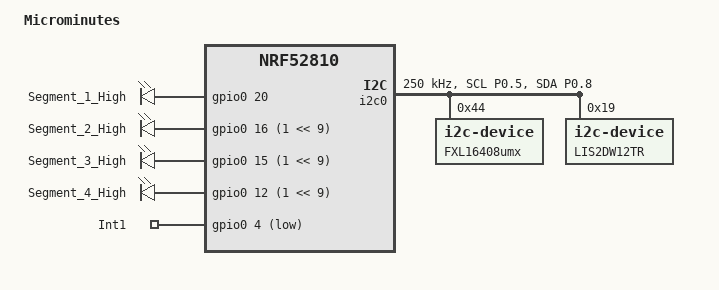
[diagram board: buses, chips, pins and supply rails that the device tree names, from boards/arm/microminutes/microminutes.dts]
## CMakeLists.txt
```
# SPDX-License-Identifier: Apache-2.0

cmake_minimum_required(VERSION 3.20.0)
find_package(Zephyr REQUIRED HINTS $ENV{ZEPHYR_BASE})
project(blinky_1)

target_sources(app PRIVATE src/main.c src/display.c src/imu.c src/bluetooth.c src/pwr.c src/hr.c src/storage.c src/rtc.c src/display_als.c)

# target_sources(app PRIVATE src/main.c src/display.c src/imu.c src/bluetooth.c)
```

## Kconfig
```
#
# Copyright (c) 2018 Nordic Semiconductor
#
# SPDX-License-Identifier: LicenseRef-Nordic-5-Clause
#

source "Kconfig.zephyr"

menu "Nordic UART BLE GATT service sample"

config BT_NUS_THREAD_STACK_SIZE
	int "Thread stack size"
	default 1024
	help
	  Stack size used in each of the two threads

config BT_NUS_UART_BUFFER_SIZE
	int "UART payload buffer element size"
	default 40
	help
	  Size of the payload buffer in each RX and TX FIFO element

config BT_NUS_SECURITY_ENABLED
	bool "Enable security"
	default y
	select BT_SMP
	help
	  "Enable BLE security for the UART service"

config BT_NUS_UART_RX_WAIT_TIME
	int "Timeout for UART RX complete event"
	default 50000
	help
	  Wait for RX complete event time in microseconds

config BT_NUS_UART_ASYNC_ADAPTER
	bool "Enable UART async adapter"
	select SERIAL_SUPPORT_ASYNC
	help
	  Enables asynchronous adapter for UART drives that supports only
	  IRQ interface.


config SEQUENCE_SAMPLES
	int "Number of samples to be made on the sequence for each channel."
	default 5

config SEQUENCE_RESOLUTION
	int "Set the resolution of the sequence readings."
	default 12

	
endmenu
```

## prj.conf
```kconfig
CONFIG_HEAP_MEM_POOL_SIZE=2048

CONFIG_BT=y
CONFIG_BT_PERIPHERAL=y
CONFIG_BT_DEVICE_NAME="MicroMinutes V2"
CONFIG_BT_DEVICE_APPEARANCE=833
CONFIG_BT_MAX_CONN=1
CONFIG_BT_MAX_PAIRED=1

# Enable the NUS service
CONFIG_BT_NUS=y

# Enable bonding
CONFIG_BT_SETTINGS=y
CONFIG_FLASH=y
CONFIG_FLASH_PAGE_LAYOUT=y
CONFIG_FLASH_MAP=y
CONFIG_NVS=y
CONFIG_SETTINGS=y

# Enable DK LED and Buttons library
# CONFIG_DK_LIBRARY=y

# Drivers and peripherals
CONFIG_I2C=y
CONFIG_WATCHDOG=n
CONFIG_SPI=n
CONFIG_GPIO=y

# Power management
CONFIG_POWEROFF=y

# Interrupts
CONFIG_DYNAMIC_INTERRUPTS=n
CONFIG_IRQ_OFFLOAD=n

# Memory protection
CONFIG_THREAD_STACK_INFO=y
CONFIG_THREAD_CUSTOM_DATA=n
CONFIG_FPU=n

# Boot
CONFIG_BOOT_BANNER=n
CONFIG_BOOT_DELAY=500

# Console
CONFIG_CONSOLE=n
CONFIG_UART_CONSOLE=n
CONFIG_STDOUT_CONSOLE=n
CONFIG_PRINTK=n
CONFIG_EARLY_CONSOLE=n

# Build
CONFIG_SIZE_OPTIMIZATIONS=n

# ARM
CONFIG_ARM_MPU=n

# In order to correctly tune the stack sizes for the threads the following
# Configurations can enabled to print the current use:
# CONFIG_THREAD_NAME=y
# CONFIG_THREAD_ANALYZER=y
# CONFIG_THREAD_ANALYZER_AUTO=y
# CONFIG_THREAD_ANALYZER_RUN_UNLOCKED=y
# CONFIG_THREAD_ANALYZER_USE_PRINTK=y
#CONFIG_CONSOLE=y
#CONFIG_UART_CONSOLE=y
#CONFIG_SERIAL=y
#CONFIG_PRINTK=y

# Example output of thread analyzer
#SDC RX              : unused 800 usage 224 / 1024 (21 %)
#BT ECC              : unused 216 usage 888 / 1104 (80 %)
#BT RX               : unused 1736 usage 464 / 2200 (21 %)
#BT TX               : unused 1008 usage 528 / 1536 (34 %)
#ble_write_thread_id : unused 688 usage 336 / 1024 (32 %)
#sysworkq            : unused 1912 usage 136 / 2048 (6 %)
#MPSL signal         : unused 928 usage 96 / 1024 (9 %)
#idle 00             : unused 224 usage 96 / 320 (30 %)
#main                : unused 568 usage 456 / 1024 (44 %)
CONFIG_BT_RX_STACK_SIZE=1024
CONFIG_BT_HCI_TX_STACK_SIZE_WITH_PROMPT=y
CONFIG_BT_HCI_TX_STACK_SIZE=640
CONFIG_SYSTEM_WORKQUEUE_STACK_SIZE=1536
CONFIG_MPSL_WORK_STACK_SIZE=256
CONFIG_MAIN_STACK_SIZE=864
CONFIG_IDLE_STACK_SIZE=128
CONFIG_ISR_STACK_SIZE=1024
CONFIG_BT_NUS_THREAD_STACK_SIZE=512

# Disable features not needed
CONFIG_TIMESLICING=n
CONFIG_MINIMAL_LIBC_MALLOC=n
CONFIG_LOG=n
CONFIG_ASSERT=n

# Disable Bluetooth features not needed
CONFIG_BT_DEBUG_NONE=y
CONFIG_BT_ASSERT=n
CONFIG_BT_DATA_LEN_UPDATE=n
CONFIG_BT_PHY_UPDATE=n
CONFIG_BT_GATT_CACHING=n
CONFIG_BT_GATT_SERVICE_CHANGED=n
CONFIG_BT_GAP_PERIPHERAL_PREF_PARAMS=n
CONFIG_BT_SETTINGS_CCC_LAZY_LOADING=y
CONFIG_BT_HCI_VS_EXT=n

# Disable Bluetooth controller features not needed
CONFIG_BT_CTLR_PRIVACY=n
CONFIG_BT_CTLR_PHY_2M=n

# Reduce Bluetooth buffers
CONFIG_BT_BUF_EVT_DISCARDABLE_COUNT=1
CONFIG_BT_BUF_EVT_DISCARDABLE_SIZE=43
CONFIG_BT_BUF_EVT_RX_COUNT=2

CONFIG_BT_CONN_TX_MAX=2
CONFIG_BT_L2CAP_TX_BUF_COUNT=2
CONFIG_BT_BUF_ACL_TX_COUNT=3
CONFIG_BT_BUF_ACL_TX_SIZE=27

# Enable timers
CONFIG_TIMER=y
CONFIG_CLOCK_CONTROL_NRF=y

# Enable ADC
CONFIG_ADC=y

CONFIG_RESET_ON_FATAL_ERROR=y
CONFIG_GPIO_AS_PINRESET=n
```

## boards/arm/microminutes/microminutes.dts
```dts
// Copyright (c) 2024 Nordic Semiconductor ASA
// SPDX-License-Identifier: Apache-2.0

/dts-v1/;
#include <nordic/nrf52810_qfaa.dtsi>

/ {
	model = "Microminutes";
	compatible = "jacob-lundstrom,microminutes";

	chosen {
		zephyr,sram = &sram0;
		zephyr,flash = &flash0;
		zephyr,code-partition = &slot0_partition;
	};

	aliases {
		led1 = &segment1high;
		led2 = &segment2high;
		led3 = &segment3high;
		led4 = &segment4high;
		int1 = &int1;
	};

	leds {
		compatible = "gpio-leds";

		segment1high: segment_1_high {
			gpios = <&gpio0 20 0>;
			label = "Segment_1_High";
		};

		segment2high: segment_2_high {
			gpios = <&gpio0 16 (1 << 9)>;
			label = "Segment_2_High";
		};

		segment3high: segment_3_high {
			gpios = <&gpio0 15 (1 << 9)>;
			label = "Segment_3_High";
		};

		segment4high: segment_4_high {
			gpios = <&gpio0 12 (1 << 9)>;
			label = "Segment_4_High";
		};

	};

	buttons {
		compatible = "gpio-keys";
		int1: int1 {
			gpios = <&gpio0 4 (GPIO_ACTIVE_LOW | GPIO_PULL_UP)>;
			label = "Int1";
		};
	};

	
};

&flash0 {
	partitions {
		compatible = "fixed-partitions";
		#address-cells = <1>;
		#size-cells = <1>;

		boot_partition: partition@0 {
			label = "mcuboot";
			reg = <0x0 0xc000>;
		};
		slot0_partition: partition@c000 {
			label = "image-0";
			reg = <0xc000 0xa000>;
		};
		slot1_partition: partition@16000 {
			label = "image-1";
			reg = <0x16000 0xa000>;
		};
		scratch_partition: partition@20000 {
			label = "image-scratch";
			reg = <0x20000 0xa000>;
		};
		storage_partition: partition@2a000 {
			label = "storage";
			reg = <0x2a000 0x6000>;
		};
	};
};


&gpio0 {
	status = "okay";
	gpiote-instance = <&gpiote>;
};

&gpiote {
	status = "okay";
};

&i2c0 {
	compatible = "nordic,nrf-twim";
	status = "okay";

	pinctrl-0 = <&i2c0_default>;
	pinctrl-names = "default";
	clock-frequency = <250000>;

	fxl6408umx: fxl6408umx@44{
		compatible="i2c-device";
		label="FXL16408umx";
		reg = <0x44>;
	};

	lis2dw12tr: lis2dw12tr@19{
		compatible="i2c-device";
		label="LIS2DW12TR";
		reg = <0x19>;
		// int-gpios = <&gpio0 4 (GPIO_PULL_UP | GPIO_ACTIVE_LOW)>;
	};
};



&pinctrl {
	i2c0_default: i2c0_default {
		group1 {
			psels = <NRF_PSEL(TWIM_SCL, 0, 5)>, <NRF_PSEL(TWIM_SDA, 0, 8)>;
		};
	};
};
```

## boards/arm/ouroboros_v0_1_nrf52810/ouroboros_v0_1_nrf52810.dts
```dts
// Copyright (c) 2024 Nordic Semiconductor ASA
// SPDX-License-Identifier: Apache-2.0

/dts-v1/;
#include <nordic/nrf52810_qfaa.dtsi>

/ {
	model = "Ouroboros V0_1 nRF52810";
	compatible = "jacob-lundstrom,ouroboros-v0-1-nrf52810";

	chosen {
		zephyr,sram = &sram0;
		zephyr,flash = &flash0;
		zephyr,code-partition = &slot0_partition;
	};

	aliases {
		led0 = &segment1high;
	};

	leds {
		compatible = "gpio-leds";

		segment1high: segment_1_high {
			gpios = <&gpio0 2 (1 << 9)>;
			label = "Segment_1_High";
		};

		segment2high: segment_2_high {
			gpios = <&gpio0 15 (1 << 9)>;
			label = "Segment_2_High";
		};

		segment3high: segment_3_high {
			gpios = <&gpio0 16 (1 << 9)>;
			label = "Segment_3_High";
		};

		segment4high: segment_4_high {
			gpios = <&gpio0 12 (1 << 9)>;
			label = "Segment_4_High";
		};

		
	};
};

&flash0 {
	partitions {
		compatible = "fixed-partitions";
		#address-cells = <1>;
		#size-cells = <1>;

		boot_partition: partition@0 {
			label = "mcuboot";
			reg = <0x0 0xc000>;
		};
		slot0_partition: partition@c000 {
			label = "image-0";
			reg = <0xc000 0xa000>;
		};
		slot1_partition: partition@16000 {
			label = "image-1";
			reg = <0x16000 0xa000>;
		};
		scratch_partition: partition@20000 {
			label = "image-scratch";
			reg = <0x20000 0xa000>;
		};
		storage_partition: partition@2a000 {
			label = "storage";
			reg = <0x2a000 0x6000>;
		};
	};
};





&gpio0 {
	status = "okay";
	gpiote-instance = <&gpiote>;
};

&gpiote {
	status = "okay";
};

&rtc0 {
	status = "okay";
	clock-frequency = <32768>;
};

&power {
	status = "disabled";
};

&adc {
	status = "okay";
};
```

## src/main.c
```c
/*
 * Copyright (c) 2016 Intel Corporation
 *
 * SPDX-License-Identifier: Apache-2.0
 */

// THIS PROGRAM REQUIRES nRF Connect SDK v2.6.1
// I don't think that the toolchain version matters.

#include "main.h"

const k_tid_t thread_main_id;
const k_tid_t display_thread_id;
const k_tid_t battery_monitor_thread_id;

K_THREAD_DEFINE(thread_main_id, MAIN_STACKSIZE, THREAD_main, NULL, NULL, NULL,
		PRIORITY, 0, 0);

K_THREAD_DEFINE(ble_thread_id, 2 * BLE_STACKSIZE, BLE_init, NULL, NULL, NULL,
		PRIORITY, 0, 0);

K_THREAD_DEFINE(battery_monitor_thread_id, 512, THREAD_battery_monitor, NULL, NULL, NULL,
		PRIORITY, 0, 0);

K_THREAD_DEFINE(display_thread_id, 512, THREAD_display, NULL, NULL, NULL,
	PRIORITY, 0, 0);

	
int THREAD_battery_monitor (void) {
	while(1) {
		k_msleep(500);
		if (display_thread_id->base.thread_state & _THREAD_SUSPENDED) {
			// k_msleep(9500); // This isn't working right for some reason. The increased duration is always active.
		}

		battery_mv = read_battery_voltage(); // With battery tracking mode, the voltage on SYS is about 0.225 V higher than the battery.
		if (PWR_get_is_on_charger()) battery_mv -= 225;

		battery_p = get_battery_percentage(battery_mv);
		continue_check_common_interrupt(); // This makes sure that we check that no interrupts occurred while measuring the battery
	}
}

int THREAD_display (void) {
	while(true) {
		if ((battery_mv < BATTERY_MIN_VOLTAGE_MV)){
				// Make sure that we do nothing if the battery is too low.
				k_thread_suspend(display_thread_id);
		} else {
			if (show_time) {
				uint32_t t = RTC_get_time();
				Display_display_time_seconds(t, military_time, t % 2 );
			} else if (show_percent) {
				Display_display_percent(battery_p);
			} else if (show_voltage) {
				Display_display_battery_voltage_mv(battery_mv);
			} else if (show_message) {
				Display_display_word(DISPLAY_MESSAGE, sizeof(DISPLAY_MESSAGE), show_message_green, show_message_red);
			} else {
				for (int i = 0; i<sizeof(DISPLAY_MESSAGE); i++) DISPLAY_MESSAGE[i] = '?';
				Display_ALS_disable();
				Display_sleep();
				k_thread_suspend(display_thread_id);
				// the display will always start at this line on every resume.
				Display_ALS_enable();
			}
		}
	}
}

int THREAD_display_DEV (void) {
	while (1)
		// Display_display_word(DISPLAY_MESSAGE, sizeof(DISPLAY_MESSAGE),true, true);
		Display_display_integer(RDG_DISPLAY_DEV, false, false);
}

int THREAD_main_DEV(void) {

	SYSTEM_init();

	while(1) {
		k_msleep(100);
	}

	int64_t red_avg = 0;
	int64_t green_avg = 0;

	while(1) {
		int N = 200;
		uint16_t red_rdg[N];
		uint16_t ir_rdg[N];
		uint16_t green_rdg[N];
		// for (int i = 0; i < N; i++) {
		// 	red_rdg[i] = HR_collect_red_sample();
		// }
		for (int i = 0; i < N; i++) {
			green_rdg[i] = HR_collect_green_sample();
		}
		// for (int i = 0; i < N; i++) {
		// 	red_rdg[i] = HR_collect_red_sample();
		// 	ir_rdg[i] = HR_collect_IR_sample();
		// }
		k_msleep(1000);
	}
}

int THREAD_main(void) {
	// TODO
	// - Check all modes for full functionality
	// - Implement OTA updates
	// - Add Step counting

	SYSTEM_init();		

	// This is required for the display to begin showing info immediately after startup
	k_msleep(1000); // wait for the other threads to finish initializing before starting

	is_charging = PWR_get_is_on_charger();
	set_display_mode_while_charging(DISPLAY_VOLTAGE_WHILE_CHARGING);
	set_display_auto_brightness(true);
	need_to_check_interrupt_source = true;

	// Do the same thing that the battery monitor thread would do.
	battery_mv = read_battery_voltage();
	
	k_thread_resume(display_thread_id); // Properly start the display thread once the ADC recorded the "battery" voltage
	// This is required to ensure that the ALS will start up on the first display event.

	while(1) {
		if (need_to_check_interrupt_source) {
			is_charging 			= PWR_get_is_on_charger();
			bool rtc_alarm_flag 	= RTC_check_alarm_flag();
			bool rtc_timer_flag 	= RTC_check_timer_flag();
			bool disp_als_int_flag 	= Display_ALS_check_interrupts();
			need_to_check_interrupt_source 	= false; // At this point we should know which source the interrupt came from

			if (disp_als_int_flag) {
				static double b;
				if (display_auto_brightness) {
					b = (double) Display_ALS_get_brightness() / (1000.0);
					if (b > 0) Display_set_duty_cycle(b);
				}
				Display_ALS_clear_interrupts();
				disp_als_int_flag = false;
			}
			Display_ALS_clear_interrupts(); // There's a glitch sometimes where the ALS gets stuck low... This fixes it?

			if (rtc_alarm_flag) {
				continue_showing_time();
			}

			if (rtc_timer_flag) {
				continue_showing_time();
			}

			if (is_charging) display_while_charging();
			
		} 
		
		if (need_to_check_IMU_interrupt) {
			uint8_t int_src = read_from_IMU(0x24);
			if (int_src & DOUBLE_TAP_ALL_MASK) { // If the wakeup source was double tap, show time.
				continue_showing_time();
			}
			need_to_check_IMU_interrupt = false;			
		} 
		
		k_thread_suspend(thread_main_id);
	}

	return 0;
}

void stop_display(void) {
	need_to_check_interrupt_source = false;
	show_time = false;
	show_percent = false;
	show_voltage = false;
	show_message = false;

	display_timeout_isr(NULL);
}

void IMU_interrupt_isr(const struct device *dev, struct gpio_callback *cb, uint32_t pins) {
	need_to_check_IMU_interrupt = true;
	resume_main_thread();
}

void common_interrupt_isr(const struct device *dev, struct gpio_callback *cb, uint32_t pins) {
	continue_check_common_interrupt();
}

void display_timeout_isr(struct k_timer *dummy) {
	if (!(always_on || (charging_display_mode && is_charging))) {
		show_time = false;
		show_percent = false;
		show_voltage = false;
		show_message = false;
	}
	k_timer_stop(&display_timeout);
}

void display_while_charging(void) {
	if (is_charging) {
		if (charging_display_mode == DISPLAY_NOTHING_WHILE_CHARGING) stop_display();
		if (charging_display_mode == DISPLAY_PERCENT_WHILE_CHARGING) continue_showing_battery_percent();
		if (charging_display_mode == DISPLAY_VOLTAGE_WHILE_CHARGING) continue_showing_battery_voltage();
		if (charging_display_mode == DISPLAY_TIME_WHILE_CHARGING) continue_showing_time();
		if (charging_display_mode == DISPLAY_TIME_AND_PERCENT_WHILE_CHARGING) return; // unimplemented at the moment
	}
}

void SYSTEM_init(void) {

	need_to_check_interrupt_source = true; // On startup, see if the device is on the charger

	// Assume that it is not charging
	show_time = false;
	show_percent = false;
	show_voltage = false;

	// MicroMinutes inits
	Display_init();
	Motor_init();

	// MicroFitness inits
	// HR_init();

	// Always initialized
	PWR_init();
	ADC_init();
	IMU_init();

	// RTC reset should never be needed. This will reset the clock and lose the current time.
	// Since we want to retain the current time through a UVLO, Don't reset on start up.
	// RTC_reset();
}

void resume_display(void) {
	k_timer_stop(&display_timeout);
	k_timer_init(&display_timeout, display_timeout_isr, NULL);
	k_timer_start(&display_timeout, K_SECONDS(5), K_SECONDS(5));
	k_thread_resume(display_thread_id);
}

void resume_main_thread(void) {
	k_thread_resume(thread_main_id);
}

void continue_check_common_interrupt(void) {
	need_to_check_interrupt_source = true;
	resume_main_thread();
}

void continue_showing_time(void){
	show_time = true;
	show_percent = false;
	show_voltage = false;
	show_message = false;

	resume_display();
}

void continue_showing_battery_percent(void){
	show_time = false;
	show_percent = true;
	show_voltage = false;
	show_message = false;

	resume_display();
}

void continue_showing_battery_voltage(void){
	show_time = false;
	show_percent = false;
	show_voltage = true;
	show_message = false;

	resume_display();
}

void continue_showing_message(char *msg, uint8_t length, bool green_status, bool red_status){
	show_time = false;
	show_percent = false;
	show_voltage = false;

	show_message = true;
	show_message_green = green_status;
	show_message_red = red_status;
	for (int i = 0; i < sizeof(DISPLAY_MESSAGE); i++) DISPLAY_MESSAGE[i] = '?';
	for (int i = 0; i < sizeof(DISPLAY_MESSAGE) & i < length; i++) DISPLAY_MESSAGE[i] = msg[i];
	
	resume_display();
}

void set_time(uint32_t time) {
	uint8_t h = time / 3600; // Number of hours
	uint8_t m = (time - 3600 * h) / 60; // Number of minutes
	uint8_t s = (time - 3600 * h - 60 * m); 
	RTC_set_time(h, m, s);

	continue_showing_time();
}

void set_military_time(bool status) {
	// true = enabled, false = disabled
	military_time = status;

	continue_showing_time();
}

void set_always_on(bool state) {
	// This function should be used mostly for development only.
	always_on = state;
	if (always_on) {
		simulate_IMU_interrupt();
	} else {
		stop_display();
	}
}

void set_display_mode_while_charging(uint8_t state) {
	charging_display_mode = state;
	if (is_charging) {
		display_while_charging();
	}
}

void set_display_auto_brightness(bool state) {
	display_auto_brightness = state;
}

void simulate_IMU_interrupt(void) {
	continue_showing_time();
}

// MOTOR FUNCTIONS

void Motor_init(void) {
	if (!gpio_is_ready_dt(&motor)) {
		return 0;
	}

	int ret = gpio_pin_configure_dt(&motor, GPIO_OUTPUT_ACTIVE);
	if (ret < 0) {
		return 0;
	}

	Motor_off();
}

void Motor_on(void) {
	gpio_pin_set_dt(&motor, 1);
	// gpio_pin_configure_dt(&motor, GPIO_OUTPUT_ACTIVE);
}

void Motor_off(void) {
	gpio_pin_set_dt(&motor, 0);
	// gpio_pin_configure_dt(&motor, GPIO_INPUT);
}

void Motor_vibrate(uint32_t duration_us) {
	Motor_on();
	k_timer_init(&motor_timeout, Motor_timeout_isr, NULL );
	k_timer_start(&motor_timeout, K_USEC(duration_us), K_USEC(duration_us));
}

void Motor_timeout_isr(struct k_timer *dummy) {
	Motor_off();
	k_timer_stop(&motor_timeout);
}
```

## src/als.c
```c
#include "als.h"

/**
 * \brief 			Sends a byte of information to the COMMAND register in the ALS.
 * \param 			COMMAND: Byte to be written to COMMAND register.
 */
uint8_t commandDisplayALS(uint8_t COMMAND) {
    while (!device_is_ready(display_als_i2c.bus));
	uint8_t config[1] = {COMMAND | 0x80}; // This just ensures that the command register is actually addressed.
	int ret = i2c_write_dt(&display_als_i2c, config, sizeof(config));
	if(ret != 0){
		return 1;
	}

	return 0;
}

/**
 * \brief 			Initializes the ALS with some acceptable settings to get the current brightness.
 */
void DISPLAY_ALS_init() {
    writeToDisplayALS(DISPLAY_ALS_REG_CONTROL, 1);
    writeToDisplayALS(DISPLAY_ALS_REG_TIMING, 0xFF);
    writeToDisplayALS(DISPLAY_ALS_REG_INTERRUPT, 0x12);
    writeToDisplayALS(DISPLAY_ALS_REG_THH_HIGH, 0x00);
    writeToDisplayALS(DISPLAY_ALS_REG_THH_LOW, 0x00);
    writeToDisplayALS(DISPLAY_ALS_REG_THL_HIGH, 0x00);
    writeToDisplayALS(DISPLAY_ALS_REG_THL_LOW, 0x00);
    // writeToDisplayALS(DISPLAY_ALS_REG_ANALOG, 2);
    DISPLAY_ALS_set_gain(8);
    writeToDisplayALS(DISPLAY_ALS_REG_CONTROL, 3);
    // writeToDisplayALS(DISPLAY_ALS_REG_TIMING, 0x);
    DISPLAY_ALS_set_exposure_ms(10);
    return;

    // For debugging:
    // while(1) { k_msleep(500);
    //     readFromDisplayALS(DISPLAY_ALS_REG_CONTROL   );
    //     readFromDisplayALS(DISPLAY_ALS_REG_TIMING    );
    //     readFromDisplayALS(DISPLAY_ALS_REG_INTERRUPT );
    //     readFromDisplayALS(DISPLAY_ALS_REG_THL_LOW   );
    //     readFromDisplayALS(DISPLAY_ALS_REG_THL_HIGH  );
    //     readFromDisplayALS(DISPLAY_ALS_REG_THH_LOW   );
    //     readFromDisplayALS(DISPLAY_ALS_REG_THH_HIGH  );
    //     readFromDisplayALS(DISPLAY_ALS_REG_ANALOG    );
    //     readFromDisplayALS(DISPLAY_ALS_REG_ID        );
    //     readFromDisplayALS(DISPLAY_ALS_REG_DATA0_LOW );
    //     readFromDisplayALS(DISPLAY_ALS_REG_DATA0_HIGH);
    //     readFromDisplayALS(DISPLAY_ALS_REG_DATA1_LOW );
    //     readFromDisplayALS(DISPLAY_ALS_REG_DATA1_HIGH);
    //     readFromDisplayALS(DISPLAY_ALS_REG_TIMER_LOW );
    //     readFromDisplayALS(DISPLAY_ALS_REG_TIMER_HIGH);
    //     readFromDisplayALS(DISPLAY_ALS_REG_ID2       );
    // }
}

/**
 * \brief 			Gets the intensity of illumination onto the sensor.
 * \return          Illumination of the photodiode array in lux. -1 corresponds to an invalid reading.
 */
int32_t DISPLAY_ALS_get_brightness(void) {
    // commandDisplayALS(0b11100001);
    uint8_t CONTROL = readFromDisplayALS(0x00);
    if (((CONTROL & 0x20) && (CONTROL & 0x10))  ) {
        uint16_t D0L = readFromDisplayALS(DISPLAY_ALS_REG_DATA0_LOW);
        uint16_t D0H = readFromDisplayALS(DISPLAY_ALS_REG_DATA0_HIGH);
        uint16_t D1L = readFromDisplayALS(DISPLAY_ALS_REG_DATA1_LOW);
        uint16_t D1H = readFromDisplayALS(DISPLAY_ALS_REG_DATA1_HIGH);
    
        
        // genericWriteToDisplayALS(0b11100001); // Should clear interrupts??
        return (D0H << 8) + D0L;
    }

    return -1;
}

/**
 * \brief 			Checks the identity of the ALS sensor.
 * \return          True if the sensor's ID is correct, False otherwise.
 */
uint8_t DISPLAY_ALS_check_ID(void) {
    uint8_t id1 = readFromDisplayALS(DISPLAY_ALS_REG_ID);
    uint8_t id2 = readFromDisplayALS(DISPLAY_ALS_REG_ID2);
    return ((id1 & 0xF0) == 0x90) && ((id2 & 0x80));
}

/**
 * \brief 			Function to handle writing to the ALS over the I2C bus.
 * \return          0 if the I2C write was successful, 1 if there was an error in communication.
 */
uint8_t writeToDisplayALS(uint8_t reg, uint8_t val) {
	while (!device_is_ready(display_als_i2c.bus));
	uint8_t config[2] = {reg | 0x80, val};
	int ret = i2c_write_dt(&display_als_i2c, config, sizeof(config));
	if(ret != 0){
		return 1;
	}

	return 0;
}


/**
 * \brief 			Function to handle Reading from the Display ALS over the I2C bus.
 * \param           reg: Register address in the Display ALS to read from.
 * \return          Value stored at the requested register address.
 */
uint8_t readFromDisplayALS(uint8_t reg) {

	while (!device_is_ready(display_als_i2c.bus));
	uint8_t config[1] = {reg | 0x80};
	int ret = i2c_write_dt(&display_als_i2c, config, sizeof(config));
	if(ret != 0){
		return 1;
	}

	uint8_t data;
	ret = i2c_read_dt(&display_als_i2c, &data, sizeof(data));
	if(ret != 0){
		return 1;
	}

	return data;
}

/**
 * \brief 			Sets the exposure time of the display in ms to as close as possible to the requested value.
 * \param           exposure_ms: The desired exposure time, in milliseconds. Values range from 2.7ms to 688.5 ms.
 * \return          0 if the I2C write was successful, 1 if there was an error in communication.
 */
uint8_t DISPLAY_ALS_set_exposure_ms(float exposure_ms) {
    uint8_t atime = 0;
    if ( exposure_ms >= 688.5 ) 
    {
        atime = 1;
    }
    else if ( exposure_ms <= 2.7 )
    {
        atime = 0xFF;
    }
    else
    {
        atime = 0xFF - ( uint8_t ) ( exposure_ms / 2.7 );
    }
    return writeToDisplayALS(DISPLAY_ALS_REG_TIMING, atime );
}

/**
 * \brief 			Sets the gain of the Display ALS.
 * \param           gain: The desired sensor gaine. Valid settings are 1, 8, 16, or 111 (high-gain mode).
 * \return          0 if the I2C write was successful, 1 if there was an error in communication or an invalid gain was requested.
 */
uint8_t DISPLAY_ALS_set_gain(uint8_t gain) {
    uint8_t data = 0;
    switch ( gain )
    {
        case 1:
        {
            data = 0;
            break;
        }
        case 8:
        {
            data = 0b1;
            break;
        }
        case 16:
        {
            data = 0b10;
            break;
        }
        case 111:
        {
            data = 0b11;
            break;
        }
        default:
        {
            return 1;
        }
    }
    return writeToDisplayALS(DISPLAY_ALS_REG_ANALOG, data);
}
```

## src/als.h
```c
#include <zephyr/kernel.h>
#include <zephyr/drivers/gpio.h>
#include <zephyr/drivers/i2c.h>

#include "main.h"
#include "imu.h"


#define I2C0_DISPLAY_ALS_NODE DT_NODELABEL(tsl2584tsv)
static const struct i2c_dt_spec display_als_i2c = I2C_DT_SPEC_GET(I2C0_DISPLAY_ALS_NODE);

#define DISPLAY_ALS_REG_CONTROL             0x00
#define DISPLAY_ALS_REG_TIMING              0x01
#define DISPLAY_ALS_REG_INTERRUPT           0x02
#define DISPLAY_ALS_REG_THL_LOW             0x03
#define DISPLAY_ALS_REG_THL_HIGH            0x04
#define DISPLAY_ALS_REG_THH_LOW             0x05
#define DISPLAY_ALS_REG_THH_HIGH            0x06
#define DISPLAY_ALS_REG_ANALOG              0x07
#define DISPLAY_ALS_REG_ID                  0x12
#define DISPLAY_ALS_REG_DATA0_LOW           0x14
#define DISPLAY_ALS_REG_DATA0_HIGH          0x15
#define DISPLAY_ALS_REG_DATA1_LOW           0x16
#define DISPLAY_ALS_REG_DATA1_HIGH          0x17
#define DISPLAY_ALS_REG_TIMER_LOW           0x18
#define DISPLAY_ALS_REG_TIMER_HIGH          0x19
#define DISPLAY_ALS_REG_ID2                 0x1E


void DISPLAY_ALS_init(void);
uint8_t writeToDisplayALS(uint8_t reg, uint8_t val);
uint8_t readFromDisplayALS(uint8_t reg);
uint8_t commandDisplayALS(uint8_t COMMAND);
void enable_Display_ALS_interrupt(void);
uint16_t DISPLAY_ALS_get_brightness(void);
uint8_t DISPLAY_ALS_set_gain(uint8_t gain);
uint8_t DISPLAY_ALS_check_ID(void);
uint8_t DISPLAY_ALS_set_exposure_ms(float exposure_ms);
uint8_t DISPLAY_ALS_set_gain(uint8_t gain);
```

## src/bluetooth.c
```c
/*
 * Copyright (c) 2018 Nordic Semiconductor ASA
 *
 * SPDX-License-Identifier: LicenseRef-Nordic-5-Clause
 */

/** @file
 *  @brief Nordic UART Bridge Service (NUS) sample
 */
// #include "uart_async_adapter.h"

#include <zephyr/types.h>
#include <zephyr/kernel.h>
// #include <zephyr/drivers/uart.h>
#include <zephyr/usb/usb_device.h>

#include <zephyr/device.h>
#include <zephyr/devicetree.h>
#include <soc.h>

#include <zephyr/bluetooth/bluetooth.h>
#include <zephyr/bluetooth/uuid.h>
#include <zephyr/bluetooth/gatt.h>
#include <zephyr/bluetooth/hci.h>

#include <bluetooth/services/nus.h>

#include <zephyr/settings/settings.h>

#include "main.h"
#include "bluetooth.h"

#define BT_LE_ADV_CONN_CUSTOM  BT_LE_ADV_PARAM(BT_LE_ADV_OPT_CONNECTABLE, 0x0b40, 0x0b40, NULL)
#define PRIORITY 7

#define DEVICE_NAME CONFIG_BT_DEVICE_NAME
#define DEVICE_NAME_LEN	(sizeof(DEVICE_NAME) - 1)

#define UART_BUF_SIZE CONFIG_BT_NUS_UART_BUFFER_SIZE
#define UART_WAIT_FOR_BUF_DELAY K_MSEC(50)
#define UART_WAIT_FOR_RX CONFIG_BT_NUS_UART_RX_WAIT_TIME

static K_SEM_DEFINE(ble_init_ok, 0, 1);

static struct bt_conn *current_conn;
static struct bt_conn *auth_conn;


bool BLE_RECIEVED_FLAG;

struct uart_data_t {
	void *fifo_reserved;
	uint8_t data[UART_BUF_SIZE];
	uint16_t len;
};

// static struct uart_data_t *tx;
static K_FIFO_DEFINE(tx);
static bool DATA_REQUESTED = false;

static const struct bt_data ad[] = {
	BT_DATA_BYTES(BT_DATA_FLAGS, (BT_LE_AD_GENERAL | BT_LE_AD_NO_BREDR)),
	BT_DATA(BT_DATA_NAME_COMPLETE, DEVICE_NAME, DEVICE_NAME_LEN),
};

static const struct bt_data sd[] = {
	BT_DATA_BYTES(BT_DATA_UUID128_ALL, BT_UUID_NUS_VAL),
};

#if CONFIG_BT_NUS_UART_ASYNC_ADAPTER
UART_ASYNC_ADAPTER_INST_DEFINE(async_adapter);
#else
static const struct device *const async_adapter;
#endif

static void connected(struct bt_conn *conn, uint8_t err);
static void disconnected(struct bt_conn *conn, uint8_t reason);

#ifdef CONFIG_BT_NUS_SECURITY_ENABLED
static void security_changed(struct bt_conn *conn, bt_security_t level,
			     enum bt_security_err err);
#endif

#if defined(CONFIG_BT_NUS_SECURITY_ENABLED)
static void auth_passkey_display(struct bt_conn *conn, unsigned int passkey);
static void auth_passkey_confirm(struct bt_conn *conn, unsigned int passkey);
static void auth_cancel(struct bt_conn *conn);
static void pairing_complete(struct bt_conn *conn, bool bonded);
static void pairing_failed(struct bt_conn *conn, enum bt_security_err reason);

static struct bt_conn_auth_cb conn_auth_callbacks = {
	.passkey_display = auth_passkey_display,
	.passkey_confirm = auth_passkey_confirm,
	.cancel = auth_cancel,
};

static struct bt_conn_auth_info_cb conn_auth_info_callbacks = {
	.pairing_complete = pairing_complete,
	.pairing_failed = pairing_failed
};
#else
static struct bt_conn_auth_cb conn_auth_callbacks;
static struct bt_conn_auth_info_cb conn_auth_info_callbacks;
#endif

static void bt_receive_cb(struct bt_conn *conn, const uint8_t *const data, uint16_t len);

static struct bt_nus_cb nus_cb = {
	.received = bt_receive_cb,
};

#ifdef CONFIG_BT_NUS_SECURITY_ENABLED
static void num_comp_reply(bool accept);
#endif

#if CONFIG_BT_NUS_UART_ASYNC_ADAPTER
UART_ASYNC_ADAPTER_INST_DEFINE(async_adapter);
#else
static const struct device *const async_adapter;
#endif

BT_CONN_CB_DEFINE(conn_callbacks) = {
	.connected    = connected,
	.disconnected = disconnected,
#ifdef CONFIG_BT_NUS_SECURITY_ENABLED
	.security_changed = security_changed,
#endif
};

static void connected(struct bt_conn *conn, uint8_t err)
{
	char addr[BT_ADDR_LE_STR_LEN];

	if (err) {
		return;
	}

	bt_addr_le_to_str(bt_conn_get_dst(conn), addr, sizeof(addr));

	current_conn = bt_conn_ref(conn);
}

static void disconnected(struct bt_conn *conn, uint8_t reason)
{
	char addr[BT_ADDR_LE_STR_LEN];

	bt_addr_le_to_str(bt_conn_get_dst(conn), addr, sizeof(addr));

	if (auth_conn) {
		bt_conn_unref(auth_conn);
		auth_conn = NULL;
	}

	if (current_conn) {
		bt_conn_unref(current_conn);
		current_conn = NULL;
	}
}

#ifdef CONFIG_BT_NUS_SECURITY_ENABLED
static void security_changed(struct bt_conn *conn, bt_security_t level,
			     enum bt_security_err err)
{
	char addr[BT_ADDR_LE_STR_LEN];

	bt_addr_le_to_str(bt_conn_get_dst(conn), addr, sizeof(addr));
}
#endif

#if defined(CONFIG_BT_NUS_SECURITY_ENABLED)
static void auth_passkey_display(struct bt_conn *conn, unsigned int passkey)
{
	char addr[BT_ADDR_LE_STR_LEN];

	bt_addr_le_to_str(bt_conn_get_dst(conn), addr, sizeof(addr));
}

static void auth_passkey_confirm(struct bt_conn *conn, unsigned int passkey)
{
	char addr[BT_ADDR_LE_STR_LEN];

	auth_conn = bt_conn_ref(conn);

	bt_addr_le_to_str(bt_conn_get_dst(conn), addr, sizeof(addr));
}


static void auth_cancel(struct bt_conn *conn)
{
	char addr[BT_ADDR_LE_STR_LEN];

	bt_addr_le_to_str(bt_conn_get_dst(conn), addr, sizeof(addr));
}


static void pairing_complete(struct bt_conn *conn, bool bonded)
{
	char addr[BT_ADDR_LE_STR_LEN];

	bt_addr_le_to_str(bt_conn_get_dst(conn), addr, sizeof(addr));
}


static void pairing_failed(struct bt_conn *conn, enum bt_security_err reason)
{
	char addr[BT_ADDR_LE_STR_LEN];

	bt_addr_le_to_str(bt_conn_get_dst(conn), addr, sizeof(addr));
}


#else
static struct bt_conn_auth_cb conn_auth_callbacks;
static struct bt_conn_auth_info_cb conn_auth_info_callbacks;
#endif

static void bt_receive_cb(struct bt_conn *conn, const uint8_t *const data,
			  uint16_t len)
{
	// These lines are important for some reason, I don't know why.
	// Removing them makes the device stop working
	char addr[BT_ADDR_LE_STR_LEN] = {0}; 
	bt_addr_le_to_str(bt_conn_get_dst(conn), addr, ARRAY_SIZE(addr));
	
	// if (BLE_RECIEVED_FLAG) return; // Make sure we're not in the middle of displaying something.
	// If we are, ignore this packet and wait.

	struct uart_data_t *ble_tx_buf = k_malloc(sizeof(*ble_tx_buf));

	for (uint16_t pos = 0; pos != len;) {
		// static struct uart_data_t *ble_tx_buf;

		if (!ble_tx_buf) {
			return;
		}

		// Keep the last byte of TX buffer for potential LF char.
		size_t tx_data_size = sizeof(ble_tx_buf->data) - 1;

		if ((len - pos) > tx_data_size) {
			ble_tx_buf->len = tx_data_size;
		} else {
			ble_tx_buf->len = (len - pos);
		}

		memcpy(ble_tx_buf->data, &data[pos], ble_tx_buf->len);

		pos += ble_tx_buf->len;

		// Append the LF character when the CR character triggered
		// transmission from the peer.
		 
		if ((pos == len) && (data[len - 1] == '\r')) {
			ble_tx_buf->data[ble_tx_buf->len] = '\n';
			ble_tx_buf->len++;
		}

		k_fifo_put(&tx, ble_tx_buf);
	}	
	k_free(ble_tx_buf);
	
	// k_fifo_put(&tx, buf);
	DATA_REQUESTED = true;
}


#ifdef CONFIG_BT_NUS_SECURITY_ENABLED
static void num_comp_reply(bool accept)
{
	if (accept) {
		bt_conn_auth_passkey_confirm(auth_conn);
	} else {
		bt_conn_auth_cancel(auth_conn);
	}

	bt_conn_unref(auth_conn);
	auth_conn = NULL;
}
#endif /* CONFIG_BT_NUS_SECURITY_ENABLED */

int BLE_init(void)
{
	int err = 0;
	BLE_RECIEVED_FLAG = false;

	if (IS_ENABLED(CONFIG_BT_NUS_SECURITY_ENABLED)) {
		err = bt_conn_auth_cb_register(&conn_auth_callbacks);
		if (err) {
			return 0;
		}

		err = bt_conn_auth_info_cb_register(&conn_auth_info_callbacks);
		if (err) {
			return 0;
		}
	}

	err = bt_enable(NULL);
	if (err) {
		return 0;
	}

	k_sem_give(&ble_init_ok);

	if (IS_ENABLED(CONFIG_SETTINGS)) {
		settings_load();
	}

	err = bt_nus_init(&nus_cb);
	if (err) {
		return 0;
	}

	// Advertises every 1.8 S
	err = bt_le_adv_start(BT_LE_ADV_CONN_CUSTOM, ad, ARRAY_SIZE(ad), sd,
			      ARRAY_SIZE(sd));
	
	
	// Advertises every 0.1 s
	// err = bt_le_adv_start(BT_LE_ADV_CONN, ad, ARRAY_SIZE(ad), sd,
	// 		      ARRAY_SIZE(sd));
	if (err) {
		return 0;
	}

	ble_write_thread();
}

void process_input(struct uart_data_t *input) {

	if ((input->data[0] == 'S') && (input->data[1] == 'T') && (input->data[2] == '=') 
			&& (input->data[5] == ':') && (input->data[8] == ':')){
		// ST=HH:MM:SS
		// Request to set the time (24 HR TIME)

		// Check input conditions
		int hr1 = (input->data[3]);
		int hr2 = (input->data[4]);
		int min1 = (input->data[6]);
		int min2 = (input->data[7]);
		int sec1 = (input->data[9]);
		int sec2 = (input->data[10]);

		hr1 -= 48;
		hr2 -= 48;
		int hr = hr1 * 10 + hr2;
		if (hr > 24) return;

		min1 -= 48;
		min2 -= 48;
		int min = min1 * 10 + min2;
		if (min > 60) return;

		sec1 -= 48;
		sec2 -= 48;
		int sec = sec1 * 10 + sec2;
		if (sec > 60) return;

		// Set time
		set_time((hr) * (60 * 60) + (min) * (60) + sec);
		BLE_RECIEVED_FLAG = true;
		return;
	} else if ((input->data[0] == 'S') && (input->data[1] == 'T') && (input->data[2] == '=') 
			&& (input->data[5] == ':')){
		// ST=HH:MM
		// Request to set the time (24 HR TIME)

		// Check input conditions
		int hr1 = (input->data[3]);
		int hr2 = (input->data[4]);
		int min1 = (input->data[6]);
		int min2 = (input->data[7]);
		int sec1 = (input->data[9]);
		int sec2 = (input->data[10]);

		hr1 -= 48;
		hr2 -= 48;
		int hr = hr1 * 10 + hr2;
		if (hr > 24) return;

		min1 -= 48;
		min2 -= 48;
		int min = min1 * 10 + min2;
		if (min > 60) return;

		// Set time
		set_time((hr) * (60 * 60) + (min) * (60));
		BLE_RECIEVED_FLAG = true;
		return;
	} else if ((input->data[0] == 'M') && (input->data[1] == 'T') && (input->data[2] == '=')) {
		// (MT=B)
		// Request to set Military time (24 HR TIME) Setting
		if (input->data[3] == '0'){
			// Military time = false
			set_military_time(false);
		} else {
			// Military time = true;
			set_military_time(true);
		}
		BLE_RECIEVED_FLAG = true;
		return;
	} else if ((input->data[0] == 'G') && (input->data[1] == 'B') && (input->data[2] == 'P')) {
		// Request to Get Battery Percentage (GBP)
		// For now, display percentage on the ring
		continue_showing_battery_percent();
		BLE_RECIEVED_FLAG = true;
		return;
	} else if ((input->data[0] == 'G') && (input->data[1] == 'B') && (input->data[2] == 'V')) {
		// Request to Get Battery Voltage (GBV)
		// For now, display voltage on the ring, using colon as period
		continue_showing_battery_voltage();
		BLE_RECIEVED_FLAG = true;
		return;
	} else if ((input->data[0] == 'S') && (input->data[1] == 'I')) {
		// Simulates IMU interrupt, to make developing less painful.
		simulate_IMU_interrupt();
		BLE_RECIEVED_FLAG = true;
		return;
	} else if ((input->data[0] == 'A') && (input->data[1] == 'O') && (input->data[2] == '=') && ((input->data[3] == '0') || (input->data[3] == '1'))) {
		// Always On [AO=%1 OR 0%]
		bool req = false;
		if (input->data[3] == '1') req = true;
		set_always_on(req);
		BLE_RECIEVED_FLAG = true;
	} else if ((input->data[0] == 'D') && (input->data[1] == 'M') && (input->data[2] == 'W') && (input->data[3] == 'C') && (input->data[4] == '=') && ((input->data[5] >= '0') && (input->data[5] <= '9'))) {
		// Display Mode While Charging [DMWC=%mode%] where mode = 0-4
		uint8_t req = (input->data[5] - '0');
		set_display_mode_while_charging(req);
		BLE_RECIEVED_FLAG = true;
	} else if ((input->data[0] == 'S') && (input->data[1] == 'M') && (input->data[2] == '=') && (input->len >= 3) && (input->len <= 8)) {
		// Show Message [SM=%message%]
		continue_showing_message(&(input->data[3]), input->len - 3, false, false);
		BLE_RECIEVED_FLAG = true;
	} else if ((input->data[0] == 'D') && (input->data[1] == 'C') && (input->data[2] == '=') && (input->len >= 4) && (input->len <= 6)) {
		// Duty Cycle of display [DC=###] where ### = 0-100
		// Not doing any input handling at the moment.
		uint8_t last_digit_index = input->len - 1;
		double duty = 0;
		char msg[3] = {'?','?','?'};
		if (last_digit_index == 5) {
			msg[0] = input->data[3];
			msg[1] = input->data[4];
			msg[2] = input->data[5];

			duty =  (input->data[5] - '0') + 10 * (input->data[4] - '0') + 100 * (input->data[3] - '0');
		} else if (last_digit_index == 4) {
			msg[0] = '0';
			msg[1] = input->data[3];
			msg[2] = input->data[4];

			duty = (input->data[4] - '0') + 10 * (input->data[3] - '0');
		} else if (last_digit_index == 3) {
			msg[0] = '0';
			msg[1] = '0';
			msg[2] = input->data[3];
			duty = (input->data[3] - '0');
		}
		duty /= 100;
		Display_set_duty_cycle(duty);
		continue_showing_message(msg, sizeof(msg), true, true);
		BLE_RECIEVED_FLAG = true;
	} else if ((input->data[0] == 'D') && (input->data[1] == 'F') && (input->data[2] == '=') && (input->len >= 4) && (input->len <= 7)) {
		// Display Framerate [DF=####] where #### = 10-1200, in Hz.
		// Not doing any input handling at the moment.
		uint8_t last_digit_index = input->len - 1;
		double frq = 0;
		char msg[4] = {'?','?','?','?'};
		if (last_digit_index == 6) {
			msg[0] = input->data[3];
			msg[1] = input->data[4];
			msg[2] = input->data[5];
			msg[3] = input->data[6];

			frq =  (input->data[6] - '0') + 10 * (input->data[5] - '0') + 100 * (input->data[4] - '0') + 1000 * (input->data[3] - '0');
		} else if (last_digit_index == 5) {
			msg[0] = '0';
			msg[1] = input->data[3];
			msg[2] = input->data[4];
			msg[3] = input->data[5];

			frq = (input->data[5] - '0') + 10 * (input->data[4] - '0') + 100 * (input->data[3] - '0');
		} else if (last_digit_index == 4) {
			msg[0] = '0';
			msg[1] = '0';
			msg[2] = input->data[3];
			msg[3] = input->data[4];

			frq = (input->data[4] - '0') + 10 * (input->data[3] - '0');
		} else {
			return;
		}
		
		Display_set_framerate(frq);
		continue_showing_message(msg, sizeof(msg), true, true);
		BLE_RECIEVED_FLAG = true;
	} else if ((input->data[0] == 'DC') && (input->data[1] == 'C') && (input->data[2] == '=') && (input->len >= 4) && (input->len <= 6)) {
		// Duty Cycle of display [DC=###] where ### = 0-100
		// Not doing any input handling at the moment.
		uint8_t last_digit_index = input->len - 1;
		double duty = 0;
		char msg[3] = {'?','?','?'};
		if (last_digit_index == 5) {
			msg[0] = input->data[3];
			msg[1] = input->data[4];
			msg[2] = input->data[5];

			duty =  (input->data[5] - '0') + 10 * (input->data[4] - '0') + 100 * (input->data[3] - '0');
		} else if (last_digit_index == 4) {
			msg[0] = '0';
			msg[1] = input->data[3];
			msg[2] = input->data[4];

			duty = (input->data[4] - '0') + 10 * (input->data[3] - '0');
		} else if (last_digit_index == 3) {
			msg[0] = '0';
			msg[1] = '0';
			msg[2] = input->data[3];
			duty = (input->data[3] - '0');
		}
		duty /= 100;
		Display_set_duty_cycle(duty);
		continue_showing_message(msg, sizeof(msg), true, true);
		BLE_RECIEVED_FLAG = true;
	} else if ((input->data[0] == 'V') & (input->data[1] == 'M')) {
		Motor_vibrate(300000);
	}
}


void ble_write_thread(void)
{
	/* Don't go any further until BLE is initialized */
	k_sem_take(&ble_init_ok, K_FOREVER);

	while(true) {
		while(!DATA_REQUESTED) {
			k_sleep(K_MSEC(10)); // This allows the system to actually do computations
		}

		BLE_recieved_data = k_fifo_get(&tx, K_SECONDS(1));

		if (bt_nus_send(NULL, BLE_recieved_data->data, BLE_recieved_data->len) == 0) {
			DATA_REQUESTED = false;
		}
		
		process_input(BLE_recieved_data);
	}
}
```

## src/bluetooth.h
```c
/*
 * Copyright (c) 2018 Nordic Semiconductor ASA
 *
 * SPDX-License-Identifier: LicenseRef-Nordic-5-Clause
 */

/** @file
 *  @brief Nordic UART Bridge Service (NUS) sample
 */

#include "display.h"

#define BLE_STACKSIZE CONFIG_BT_NUS_THREAD_STACK_SIZE

static struct uart_data_t *BLE_recieved_data;

int BLE_init(void);

void ble_write_thread(void);

void process_input(struct uart_data_t *input);
```

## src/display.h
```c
#ifndef DISPLAY_H
#define DISPLAY_H

#include <zephyr/kernel.h>
#include <zephyr/drivers/gpio.h>
#include <zephyr/drivers/i2c.h>
#include "pwr.h"
#include "math.h"

#define CA1_NODE DT_ALIAS(ca1)
#define CA2_NODE DT_ALIAS(ca2)
#define CA3_NODE DT_ALIAS(ca3)
#define CA4_NODE DT_ALIAS(ca4)
#define CA5_NODE DT_ALIAS(ca5)

#define CC1_NODE DT_ALIAS(cc1)
#define CC2_NODE DT_ALIAS(cc2)
#define CC3_NODE DT_ALIAS(cc3)
#define CC4_NODE DT_ALIAS(cc4)
#define CC5_NODE DT_ALIAS(cc5)
#define CC6_NODE DT_ALIAS(cc6)
#define CC7_NODE DT_ALIAS(cc7)

static const struct gpio_dt_spec CA1 = GPIO_DT_SPEC_GET(CA1_NODE, gpios);
static const struct gpio_dt_spec CA2 = GPIO_DT_SPEC_GET(CA2_NODE, gpios);
static const struct gpio_dt_spec CA3 = GPIO_DT_SPEC_GET(CA3_NODE, gpios);
static const struct gpio_dt_spec CA4 = GPIO_DT_SPEC_GET(CA4_NODE, gpios);
static const struct gpio_dt_spec CA5 = GPIO_DT_SPEC_GET(CA5_NODE, gpios);

static const struct gpio_dt_spec CC1 = GPIO_DT_SPEC_GET(CC1_NODE, gpios);
static const struct gpio_dt_spec CC2 = GPIO_DT_SPEC_GET(CC2_NODE, gpios);
static const struct gpio_dt_spec CC3 = GPIO_DT_SPEC_GET(CC3_NODE, gpios);
static const struct gpio_dt_spec CC4 = GPIO_DT_SPEC_GET(CC4_NODE, gpios);
static const struct gpio_dt_spec CC5 = GPIO_DT_SPEC_GET(CC5_NODE, gpios);
static const struct gpio_dt_spec CC6 = GPIO_DT_SPEC_GET(CC6_NODE, gpios);
static const struct gpio_dt_spec CC7 = GPIO_DT_SPEC_GET(CC7_NODE, gpios);

static uint32_t DISPLAY_PERIOD_US = 8333;
static double DISPLAY_DUTY_CYCLE = 1;


int Display_init();
void Display_set_duty_cycle(double duty);
void Display_set_framerate(double fps);
void Display_set_period(uint32_t period_us);

void Display_enable_digit(int digit);
void Display_disable_digit(int digit);
void Display_enable_digit_low(int digit);
void Display_disable_all_digits();
void Display_display_none();
void Display_display_number_on_digit(uint8_t num, int digit);
void Display_display_colon();
void Display_display_time(int num1, int num2, bool colon, int num3, int num4, bool green_ind, bool red_ind);
void Display_display_time_seconds(int current_time_seconds, bool military_time, bool show_colon);
void Display_display_battery_voltage_mv(int mv);
void Display_display_error(uint8_t error_number);
void Display_display_credits(void);
void Display_display_percent(int percent);

uint8_t Display_convert_number_to_segments(uint8_t number);
uint8_t Display_convert_character_to_segments(uint8_t character);

void Display_display_arbitrary(int digit, uint8_t data);
void Display_display_arb_all(uint8_t s1, uint8_t s2, uint8_t s3, uint8_t s4, uint8_t s5, bool green_ind, bool red_ind);
void Display_display_word_chars(char c1, char c2, char c3, char c4, char c5, bool green_ind, bool red_ind);
void Display_display_word(char *word, int len, bool green_ind, bool red_ind);
void Display_display_integer(uint16_t integer, bool green_ind, bool red_ind);
void Display_sleep(void);

#endif
```

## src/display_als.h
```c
#include <zephyr/kernel.h>
#include <zephyr/drivers/gpio.h>
#include <zephyr/drivers/i2c.h>

#include "main.h"
#include "imu.h"


#define I2C0_DISPLAY_ALS_NODE DT_NODELABEL(tsl2584tsv)
static const struct i2c_dt_spec display_als_i2c = I2C_DT_SPEC_GET(I2C0_DISPLAY_ALS_NODE);

#define DISPLAY_ALS_REG_CONTROL             0x00
#define DISPLAY_ALS_REG_TIMING              0x01
#define DISPLAY_ALS_REG_INTERRUPT           0x02
#define DISPLAY_ALS_REG_THL_LOW             0x03
#define DISPLAY_ALS_REG_THL_HIGH            0x04
#define DISPLAY_ALS_REG_THH_LOW             0x05
#define DISPLAY_ALS_REG_THH_HIGH            0x06
#define DISPLAY_ALS_REG_ANALOG              0x07
#define DISPLAY_ALS_REG_ID                  0x12
#define DISPLAY_ALS_REG_DATA0_LOW           0x14
#define DISPLAY_ALS_REG_DATA0_HIGH          0x15
#define DISPLAY_ALS_REG_DATA1_LOW           0x16
#define DISPLAY_ALS_REG_DATA1_HIGH          0x17
#define DISPLAY_ALS_REG_TIMER_LOW           0x18
#define DISPLAY_ALS_REG_TIMER_HIGH          0x19
#define DISPLAY_ALS_REG_ID2                 0x1E


void Display_ALS_init(void);
uint8_t write_to_Display_ALS(uint8_t reg, uint8_t val);
uint8_t read_from_Display_ALS(uint8_t reg);
uint8_t command_Display_ALS(uint8_t COMMAND);
void enable_Display_ALS_interrupt(void);
int32_t Display_ALS_get_brightness(void);
uint8_t Display_ALS_set_gain(uint8_t gain);
uint8_t Display_ALS_check_ID(void);
uint8_t Display_ALS_set_exposure_ms(float exposure_ms);
uint8_t Display_ALS_set_gain(uint8_t gain);

uint8_t Display_ALS_check_interrupts();
uint8_t Display_ALS_clear_interrupts();

uint8_t Display_ALS_enable(void);
uint8_t Display_ALS_disable(void);
```

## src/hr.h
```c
#ifndef HR_H
#define HR_H

#include "main.h"

#include <zephyr/kernel.h>
#include <zephyr/drivers/gpio.h>
#include <zephyr/drivers/i2c.h>

#define RED_CHANNEL 1
#define GREEN_CHANNEL 2
#define BLUE_CHANNEL 3
#define IR_CHANNEL 4

static uint8_t RED_CURRENT_mA = 5; 
static uint8_t GREEN_CURRENT_mA = 3;
static uint8_t BLUE_CURRENT_mA = 5; 
static uint8_t IR_CURRENT_mA = 5;

#define I2C0_LED_DRV_NODE DT_NODELABEL(is31fl3294)
static const struct i2c_dt_spec led_drv_i2c = I2C_DT_SPEC_GET(I2C0_LED_DRV_NODE);

#define I2C0_ALS_NODE DT_NODELABEL(apds_9253_001)
static const struct i2c_dt_spec als_i2c = I2C_DT_SPEC_GET(I2C0_ALS_NODE);

static uint32_t ALS_IR_READING;
static uint32_t ALS_BLUE_READING;
static uint32_t ALS_GREEN_READING;
static uint32_t ALS_RED_READING;

void HR_init(void);
void HR_LED_driver_init(void);
void HR_ALS_init(void);

void HR_enable(void);
void HR_disable(void);

void HR_ALS_collect_sample(void);
uint32_t HR_ALS_get_recorded_red_value(void);
uint32_t HR_ALS_get_recorded_green_value(void);
uint32_t HR_ALS_get_recorded_blue_value(void);
uint32_t HR_ALS_get_recorded_IR_value(void);

uint8_t write_to_HR_LED_driver(uint8_t reg, uint8_t val);
uint8_t read_from_HR_LED_driver(uint8_t reg);

uint8_t write_to_HR_ALS(uint8_t reg, uint8_t val);
uint8_t read_from_HR_ALS(uint8_t reg);

uint32_t HR_collect_red_sample(void);
uint32_t HR_collect_IR_sample(void);
uint32_t HR_collect_green_sample(void);

void HR_LED_illuminate_channel(uint8_t channel_number, uint8_t current_mA);
void HR_LED_turn_off_channel(uint8_t channel_number);

void HR_LED_illuminate_red(uint8_t current_mA);
void HR_LED_turn_off_red(void);

void HR_LED_illuminate_green(uint8_t current_mA);
void HR_LED_turn_off_green(void);

void HR_LED_illuminate_blue(uint8_t current_mA);
void HR_LED_turn_off_blue(void);

void HR_LED_illuminate_IR(uint8_t current_mA);
void HR_LED_turn_off_IR(void);

#endif
```

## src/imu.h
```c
#ifndef IMU_H
#define IMU_H
#include "main.h"

#include <zephyr/kernel.h>
#include <zephyr/drivers/gpio.h>
#include <zephyr/drivers/i2c.h>

// CHOOSE ONE FOR THE CORRECT IMU
// #define __LIS2DW12
#define __LIS2DUX12

#define INT1_NODE DT_ALIAS(int1)
static const struct gpio_dt_spec INT1 = GPIO_DT_SPEC_GET(INT1_NODE, gpios);

#ifdef __LIS2DW12
#define I2C0_IMU_NODE DT_NODELABEL(lis2dw12)
static const struct i2c_dt_spec imu_i2c = I2C_DT_SPEC_GET(I2C0_IMU_NODE);
#endif

#ifdef __LIS2DUX12

#define FF_IA_ALL_MASK              0b0000001
#define WU_IA_ALL_MASK              0b0000010
#define SINGLE_TAP_ALL_MASK         0b0000100
#define DOUBLE_TAP_ALL_MASK         0b0001000
#define TRIPLE_TAP_ALL_MASK         0b0010000
#define D6D_IA_ALL_MASK             0b0100000
#define SLEEP_CHANGE_IA_ALL_MASK    0b1000000

#define I2C0_IMU_NODE DT_NODELABEL(lis2dux12)
static const struct i2c_dt_spec imu_i2c = I2C_DT_SPEC_GET(I2C0_IMU_NODE);

#endif

void IMU_init(void);
uint8_t write_to_IMU(uint8_t reg, uint8_t val);
uint8_t read_from_IMU(uint8_t reg);

#endif
```
